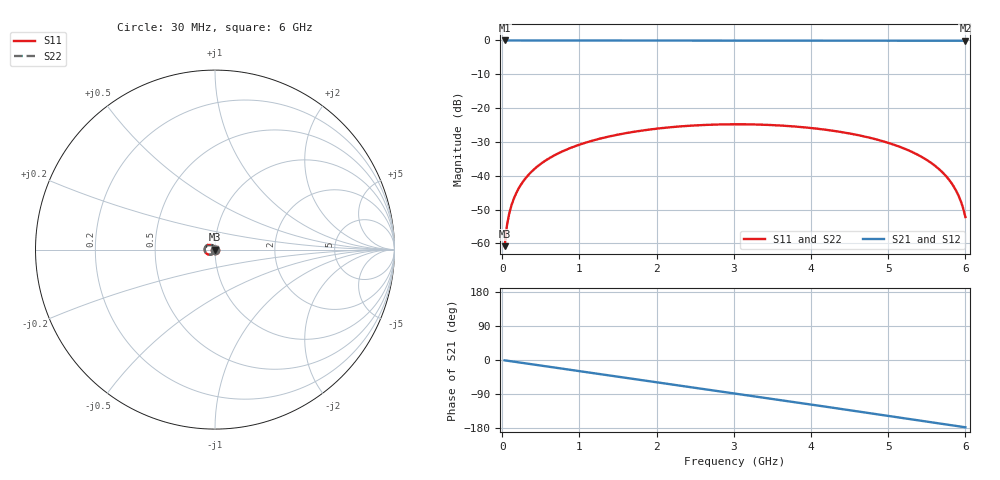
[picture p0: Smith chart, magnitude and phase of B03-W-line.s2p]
! yapnr Order 0 O0-W: O0-W B03 W dL14 (line, family W)
! stackup OSHPARK-4L-EM528, nominal parameters; geometry of the OSHPARK-4L-FR408HR design
! model: 2D quasi-static RLGC (Djordjevic-Sarkar, Huray roughness, Wheeler loss); generated by python -m yapnr.rf.coupons expected --stackup OSHPARK-4L-FR408HR --upload W
! reference planes 10 mm from each end; 50 ohm (from the W line's Zc)
# GHz S DB R 50
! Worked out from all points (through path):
!   200 points, 30 MHz to 6 GHz, reference 50 ohm
!   highest |S21| = 0.00 dB at 30 MHz (marker M1); lowest = -0.1 dB at 6 GHz (marker M2)
!   group delay of S21, straight-line fit = 82.1 ps
!   lowest |S11| = -60.8 dB at 30 MHz (marker M3), VSWR 1.00, Z = 50 - j0.091 ohm
!   |S11| at or under -10 dB: start of sweep to end of sweep
!   |S22| runs from -60.8 to -24.8 dB; largest |S21 - S12| = 0
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0.03  -60.81 -87.1  -0.00 -0.9  -0.00 -0.9  -60.81 -87.1
0.06  -54.70 -89.8  -0.00 -1.8  -0.00 -1.8  -54.70 -89.8
0.09  -51.16 -91.4  -0.00 -2.6  -0.00 -2.6  -51.16 -91.4
0.12  -48.66 -92.7  -0.00 -3.5  -0.00 -3.5  -48.66 -92.7
0.21  -43.83 -96.0  -0.00 -6.2  -0.00 -6.2  -43.83 -96.0
0.3  -40.77 -99.0  -0.01 -8.8  -0.01 -8.8  -40.77 -99.0
0.42  -37.92 -102.8  -0.01 -12.3  -0.01 -12.3  -37.92 -102.8
0.6  -34.93 -108.3  -0.01 -17.6  -0.01 -17.6  -34.93 -108.3
1.05  -30.43 -121.7  -0.02 -30.7  -0.02 -30.7  -30.43 -121.7
1.5  -27.83 -135.0  -0.03 -43.9  -0.03 -43.9  -27.83 -135.0
2.04  -25.98 -150.9  -0.04 -59.7  -0.04 -59.7  -25.98 -150.9
2.55  -25.05 -165.9  -0.05 -74.7  -0.05 -74.7  -25.05 -165.9
3.03  -24.78 179.9  -0.06 -88.8  -0.06 -88.8  -24.78 179.9
3.51  -25.03 165.8  -0.06 -103.0  -0.06 -103.0  -25.03 165.8
4.02  -25.93 150.7  -0.07 -118.2  -0.07 -118.2  -25.93 150.7
4.56  -27.76 134.8  -0.07 -134.2  -0.07 -134.2  -27.76 134.8
5.01  -30.34 121.6  -0.07 -147.7  -0.07 -147.7  -30.34 121.6
5.4  -34.00 110.4  -0.07 -159.5  -0.07 -159.5  -34.00 110.4
5.7  -38.92 102.6  -0.08 -168.5  -0.08 -168.5  -38.92 102.6
5.88  -44.43 99.5  -0.08 -173.9  -0.08 -173.9  -44.43 99.5
5.94  -47.49 99.9  -0.08 -175.8  -0.08 -175.8  -47.49 99.9
6  -52.20 103.4  -0.08 -177.6  -0.08 -177.6  -52.20 103.4
